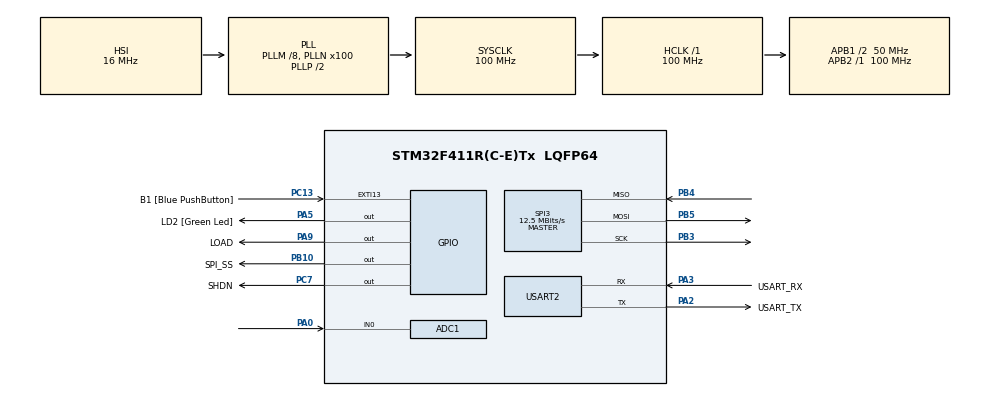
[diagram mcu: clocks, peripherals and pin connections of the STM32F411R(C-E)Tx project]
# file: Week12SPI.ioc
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ADC1.Channel-1\#ChannelRegularConversion=ADC_CHANNEL_0
ADC1.DMAContinuousRequests=ENABLE
ADC1.ExternalTrigConv=ADC_EXTERNALTRIGCONV_T3_TRGO
ADC1.NbrOfConversionFlag=1
ADC1.Rank-1\#ChannelRegularConversion=1
ADC1.SamplingTime-1\#ChannelRegularConversion=ADC_SAMPLETIME_3CYCLES
ADC1.ScanConvMode=ENABLE
ADC1.master=1
Dma.ADC1.0.Direction=DMA_PERIPH_TO_MEMORY
Dma.ADC1.0.FIFOMode=DMA_FIFOMODE_DISABLE
Dma.ADC1.0.Instance=DMA2_Stream0
Dma.ADC1.0.MemDataAlignment=DMA_MDATAALIGN_HALFWORD
Dma.ADC1.0.MemInc=DMA_MINC_ENABLE
Dma.ADC1.0.Mode=DMA_CIRCULAR
Dma.ADC1.0.PeriphDataAlignment=DMA_PDATAALIGN_HALFWORD
Dma.ADC1.0.PeriphInc=DMA_PINC_DISABLE
Dma.ADC1.0.Priority=DMA_PRIORITY_LOW
Dma.Request0=ADC1
Mcu.Family=STM32F4
Mcu.Name=STM32F411R(C-E)Tx
Mcu.Package=LQFP64
NVIC.ADC_IRQn=true\:0\:0\:false\:false\:true\:true\:true
NVIC.DMA2_Stream0_IRQn=true\:0\:0\:false\:false\:true\:false\:true
NVIC.PriorityGroup=NVIC_PRIORITYGROUP_0
NVIC.SPI3_IRQn=true\:0\:0\:false\:false\:true\:true\:true
NVIC.TIM1_TRG_COM_TIM11_IRQn=true\:0\:0\:false\:false\:true\:true\:true
NVIC.USART2_IRQn=true\:0\:0\:false\:false\:true\:true\:true
PA0-WKUP.Signal=ADCx_IN0
PA13.GPIO_Label=TMS
PA13.Mode=Serial_Wire
PA13.Signal=SYS_JTMS-SWDIO
PA14.GPIO_Label=TCK
PA14.Mode=Serial_Wire
PA14.Signal=SYS_JTCK-SWCLK
PA2.GPIO_Label=USART_TX
PA2.Mode=Asynchronous
PA2.Signal=USART2_TX
PA3.GPIO_Label=USART_RX
PA3.Mode=Asynchronous
PA3.Signal=USART2_RX
PA5.GPIO_Label=LD2 [Green Led]
PA5.Signal=GPIO_Output
PA9.GPIO_Label=LOAD
PA9.PinState=GPIO_PIN_SET
PA9.Signal=GPIO_Output
PB10.GPIO_Label=SPI_SS
PB10.PinState=GPIO_PIN_SET
PB10.Signal=GPIO_Output
PB3.Mode=Full_Duplex_Master
PB3.Signal=SPI3_SCK
PB4.Mode=Full_Duplex_Master
PB4.Signal=SPI3_MISO
PB5.Mode=Full_Duplex_Master
PB5.Signal=SPI3_MOSI
PC13-ANTI_TAMP.GPIO_Label=B1 [Blue PushButton]
PC13-ANTI_TAMP.GPIO_ModeDefaultEXTI=GPIO_MODE_IT_FALLING
PC13-ANTI_TAMP.Signal=GPXTI13
PC14-OSC32_IN.Mode=LSE-External-Oscillator
PC14-OSC32_IN.Signal=RCC_OSC32_IN
PC15-OSC32_OUT.Mode=LSE-External-Oscillator
PC15-OSC32_OUT.Signal=RCC_OSC32_OUT
PC7.GPIO_Label=SHDN
PC7.PinState=GPIO_PIN_SET
PC7.Signal=GPIO_Output
PH0\ -\ OSC_IN.Mode=HSE-External-Clock-Source
PH0\ -\ OSC_IN.Signal=RCC_OSC_IN
PH1\ -\ OSC_OUT.Mode=HSE-External-Clock-Source
PH1\ -\ OSC_OUT.Signal=RCC_OSC_OUT
ProjectManager.HeapSize=0x200
ProjectManager.StackSize=0x400
ProjectManager.TargetToolchain=STM32CubeIDE
RCC.48MHZClocksFreq_Value=50000000
RCC.AHBFreq_Value=100000000
RCC.APB1CLKDivider=RCC_HCLK_DIV2
RCC.APB1Freq_Value=50000000
RCC.APB1TimFreq_Value=100000000
RCC.APB2Freq_Value=100000000
RCC.APB2TimFreq_Value=100000000
RCC.CortexFreq_Value=100000000
RCC.FLatency-AdvancedSettings=FLASH_LATENCY_3
RCC.HCLKFreq_Value=100000000
RCC.HSE_VALUE=8000000
RCC.HSI_VALUE=16000000
RCC.PLLM=8
RCC.PLLN=100
RCC.SYSCLKFreq_VALUE=100000000
RCC.SYSCLKSource=RCC_SYSCLKSOURCE_PLLCLK
RCC.VCOOutputFreq_Value=200000000
SH.ADCx_IN0.0=ADC1_IN0,IN0
SPI3.BaudRatePrescaler=SPI_BAUDRATEPRESCALER_4
SPI3.CalculateBaudRate=12.5 MBits/s
SPI3.DataSize=SPI_DATASIZE_16BIT
SPI3.Direction=SPI_DIRECTION_2LINES
SPI3.Mode=SPI_MODE_MASTER
SPI3.VirtualType=VM_MASTER
TIM11.Prescaler=99
TIM3.Period=100
TIM3.Prescaler=99
TIM3.TIM_MasterOutputTrigger=TIM_TRGO_UPDATE
USART2.VirtualMode=VM_ASYNC
VP_TIM11_VS_ClockSourceINT.Mode=Enable_Timer
VP_TIM3_VS_ClockSourceINT.Mode=Internal
board=NUCLEO-F411RE

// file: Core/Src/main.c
/* USER CODE BEGIN Header */
/**
 ******************************************************************************
 * @file           : main.c
 * @brief          : Main program body
 ******************************************************************************
 * @attention
 *
 * <h2><center>&copy; Copyright (c) 2021 STMicroelectronics.
 * All rights reserved.</center></h2>
 *
 * This software component is licensed by ST under BSD 3-Clause license,
 * the "License"; You may not use this file except in compliance with the
 * License. You may obtain a copy of the License at:
 *                        opensource.org/licenses/BSD-3-Clause
 *
 ******************************************************************************
 */
/* USER CODE END Header */
#include "main.h"

/* USER CODE BEGIN Includes */
#include "math.h"
#include <stdio.h> //sprintf
#include <string.h> //strlen
/* USER CODE END Includes */

ADC_HandleTypeDef hadc1;
DMA_HandleTypeDef hdma_adc1;

SPI_HandleTypeDef hspi3;

TIM_HandleTypeDef htim3;
TIM_HandleTypeDef htim11;

UART_HandleTypeDef huart2;

/* USER CODE BEGIN PV */
uint16_t ADCin = 0; // Feedback
uint64_t _micro = 0;
uint16_t dataOut = 0; // 12bit DAC
uint8_t DACConfig = 0b0011; // Upper 4bit DAC

uint8_t Mode = 0; //0 = SawTooth, 1 = SineWave, 2 = SquareWave

char TxDataBuffer[32] = { 0 };
char RxDataBuffer[32] = { 0 };

enum STATE_MACHINE
{
	State_Start = 0,
	State_Start_WaitInput = 5,
	State_SawTooth = 10,
	State_SawTooth_WaitInput = 20,
	State_SineWave = 30,
	State_SineWave_WaitInput = 40,
	State_SquareWave = 50,
	State_SquareWave_WaitInput = 60
};
uint8_t State = 0;

float Time_SawTooth = 0.0;
float Time_SquareWave = 0.0;

//Generate Saw tooth
char SawTooth_frequency_output[32] = {0};
char SawTooth_Vhigh_output[32] = {0};
char SawTooth_Vlow_output[32] = {0};
uint16_t Slope = 1;
float Frequency_SawTooth = 1.0;
float Vhigh_SawTooth = 3.3;
float Vlow_SawTooth = 0.0;
//Generate Sine wave
char SineWave_frequency_output[32] = {0};
char SineWave_Vhigh_output[32] = {0};
char SineWave_Vlow_output[32] = {0};
float Frequency_SineWave = 1.0;
float Vhigh_SineWave = 3.3;
float Vlow_SineWave = 0.0;
float Phase_Shift_SineWave = 0.0;
float Vertical_Shift_SineWave = 1.65;
float Degree = 0.0;
//Generate Square wave
char SquareWave_frequency_output[40] = {0};
char SquareWave_Vhigh_output[32] = {0};
char SquareWave_Vlow_output[32] = {0};
char SquareWave_dutycycle_output[40] = {0};
float Frequency_SquareWave = 1.0;
float Vhigh_SquareWave = 3.3;
float Vlow_SquareWave = 0.0;
float Period_High_SquareWave = 0.0;
float DutyCycle = 50.0;

/* USER CODE END PV */

void SystemClock_Config(void);
static void MX_GPIO_Init(void);
static void MX_DMA_Init(void);
static void MX_USART2_UART_Init(void);
static void MX_ADC1_Init(void);
static void MX_SPI3_Init(void);
static void MX_TIM3_Init(void);
static void MX_TIM11_Init(void);
/* USER CODE BEGIN PFP */
void MCP4922SetOutput(uint8_t Config, uint16_t DACOutput);
uint64_t micros();
int16_t UARTRecieveIT();
/* USER CODE END PFP */

int main(void)
{

  /* MCU Configuration--------------------------------------------------------*/

  /* Reset of all peripherals, Initializes the Flash interface and the Systick. */
  HAL_Init();

  /* Configure the system clock */
  SystemClock_Config();

  /* Initialize all configured peripherals */
  MX_GPIO_Init();
  MX_DMA_Init();
  MX_USART2_UART_Init();
  MX_ADC1_Init();
  MX_SPI3_Init();
  MX_TIM3_Init();
  MX_TIM11_Init();
  /* USER CODE BEGIN 2 */
	HAL_TIM_Base_Start(&htim3);
	HAL_TIM_Base_Start_IT(&htim11);
	HAL_ADC_Start_DMA(&hadc1, (uint32_t*) &ADCin, 1);

	HAL_GPIO_WritePin(LOAD_GPIO_Port, LOAD_Pin, GPIO_PIN_RESET);

	{
		char temp[]="\r\n\r\n\r\n\r\n\r\n\r\n\r\n\r\n\r\n\r\n\r\n\r\nWelcome\r\nPlease type something to start.\r\n";
		HAL_UART_Transmit(&huart2, (uint8_t*)temp, strlen(temp),10);
	}
  /* USER CODE END 2 */

  /* Infinite loop */
  /* USER CODE BEGIN WHILE */
	while (1)
	{
		//Receivedcahr
		/*Method 2 Interrupt Mode*/
		HAL_UART_Receive_IT(&huart2,  (uint8_t*)RxDataBuffer, 32);
		/*Method 2 W/ 1 Char Received*/
		int16_t inputchar = UARTRecieveIT();
		if(inputchar!=-1)
		{
			sprintf(TxDataBuffer, "ReceivedChar:[%c]\r\n\r\n", inputchar);
			HAL_UART_Transmit(&huart2, (uint8_t*)TxDataBuffer, strlen(TxDataBuffer), 1000);
		}

		//State Machine
		switch (State)
		{
			case State_Start:
				{
					char State_Start_char[] = "----------MENU----------\r\n"
							"-->Press '0' for Saw tooth.\r\n"
							"-->Press '1' for Sine wave.\r\n"
							"-->Press '2' for Square wave.\r\n"
							"------------------------\r\n";
					HAL_UART_Transmit(&huart2, (uint8_t*)State_Start_char, strlen(State_Start_char), 100);
				}
				State = State_Start_WaitInput;
				break;
			case State_Start_WaitInput:
				switch (inputchar)
				{
					case 0: //No input. Wait for input
						break;
					case -1: //No input. Wait for input
						break;
					case '0':
						{
							char State_Start_WaitInput_SawTooth[] = " \r\nGo to Saw tooth control.\r\nPlease wait....\r\n \r\n";
							HAL_UART_Transmit(&huart2, (uint8_t*)State_Start_WaitInput_SawTooth, strlen(State_Start_WaitInput_SawTooth), 100);
						}
						State = State_SawTooth;
						break;
					case '1':
						{
							char State_Start_WaitInput_SineWave[] = " \r\nGo to Sine wave control.\r\nPlease wait....\r\n \r\n";
							HAL_UART_Transmit(&huart2, (uint8_t*)State_Start_WaitInput_SineWave, strlen(State_Start_WaitInput_SineWave), 100);
						}
						State = State_SineWave;
						break;
					case '2':
						{
							char State_Start_WaitInput_SquareWave[] = " \r\nGo to Square wave control.\r\nPlease wait....\r\n \r\n";
							HAL_UART_Transmit(&huart2, (uint8_t*)State_Start_WaitInput_SquareWave, strlen(State_Start_WaitInput_SquareWave), 100);
						}
						State = State_SquareWave;
						break;
					default:
						{
							char ERROR[] = " \r\n!!!ERROR!!!\r\nPlease retype.\r\n \r\n";
							HAL_UART_Transmit(&huart2, (uint8_t*)ERROR, strlen(ERROR), 100);
						}
						State = State_Start;
						break;
				}
				break;
			case State_SawTooth:
				Mode = 0;
				{
					char State_SawTooth_char[] = "------------------------\r\nSaw tooth  control\r\n"
							"-->Press 'd' for increase frequency (+0.1 Hz).\r\n"
							"-->Press 'a' decrease frequency (-0.1 Hz).\r\n"
							"-->Press 'w' increase V high (+0.1 V).\r\n"
							"-->Press 's' decrease V high (-0.1 V).\r\n"
							"-->Press 'e' increase V low (+0.1 V).\r\n"
							"-->Press 'q' decrease V low (-0.1 V).\r\n"
							"-->Press 'f' for change slope.\r\n"
							"-->Press 'x' for back to Start.\r\n"
							"------------------------\r\n";
					HAL_UART_Transmit(&huart2, (uint8_t*)State_SawTooth_char, strlen(State_SawTooth_char), 100);
				}
				{
					sprintf(SawTooth_frequency_output, "Frequency of SawTooth: [%.1f]\r\n", Frequency_SawTooth);
					HAL_UART_Transmit(&huart2, (uint8_t*)SawTooth_frequency_output, strlen(SawTooth_frequency_output), 100);
				}
				{
					sprintf(SawTooth_Vhigh_output, "V high of SawTooth: [%.1f]\r\n", Vhigh_SawTooth);
					HAL_UART_Transmit(&huart2, (uint8_t*)SawTooth_Vhigh_output, strlen(SawTooth_Vhigh_output), 100);
				}
				{
					sprintf(SawTooth_Vlow_output, "V low of SawTooth: [%.1f]\r\n", Vlow_SawTooth);
					HAL_UART_Transmit(&huart2, (uint8_t*)SawTooth_Vlow_output, strlen(SawTooth_Vlow_output), 100);
				}
				State = State_SawTooth_WaitInput;
				break;
			case State_SawTooth_WaitInput:
				switch (inputchar)
				{
					case 0: //No input. Wait for input
						break;
					case -1: //No input. Wait for input
						break;
					case 'f':
						Slope = -1*Slope;
						State = State_SawTooth;
						break;
					case 'd':
						if(Frequency_SawTooth+0.05 >= 10.000000)
						{
							Frequency_SawTooth = 10.0;
						}
						else
						{
							Frequency_SawTooth += 0.1;
						}
						State = State_SawTooth;
						break;
					case 'a':
						if(Frequency_SawTooth < 0.1)
						{
							Frequency_SawTooth = 0.0;
						}
						else
						{
							Frequency_SawTooth -= 0.1;
						}
						State = State_SawTooth;
						break;
					case 'w':
						if(Vhigh_SawTooth+0.05 >= 3.3)
						{
							Vhigh_SawTooth = 3.3;
						}
						else
						{
							Vhigh_SawTooth += 0.1;
						}
						State = State_SawTooth;
						break;
					case 's':
						if(Vhigh_SawTooth < 0.1)
						{
							Vhigh_SawTooth = 0.0;
						}
						else
						{
							if(Vhigh_SawTooth <= Vlow_SawTooth)
							{
								Vhigh_SawTooth = Vlow_SawTooth;
							}
							else
							{
								Vhigh_SawTooth -= 0.1;
							}
						}
						State = State_SawTooth;
						break;
					case 'e':
						if(Vlow_SawTooth+0.05 >= Vhigh_SawTooth)
						{
							Vlow_SawTooth = Vhigh_SawTooth;
						}
						else
						{
							Vlow_SawTooth += 0.1;
						}
						State = State_SawTooth;
						break;
					case 'q':
						if(Vlow_SawTooth < 0.1)
						{
							Vlow_SawTooth = 0.0;
						}
						else
						{
							Vlow_SawTooth -= 0.1;
						}
						State = State_SawTooth;
						break;
					case 'x':
						{
							char GoBack[] = " \r\nGo to Menu.\r\nPlease wait....\r\n \r\n";
							HAL_UART_Transmit(&huart2, (uint8_t*)GoBack, strlen(GoBack), 100);
						}
						State = State_Start;
						break;
					default:
						{
							char ERROR[] = " \r\n!!!ERROR!!!\r\nPlease retype.\r\n \r\n";
							HAL_UART_Transmit(&huart2, (uint8_t*)ERROR, strlen(ERROR), 100);
						}
						State = State_SawTooth;
						break;
				}
				break;
			case State_SineWave:
				Mode = 1;
				{
					char State_SineWave_char[] = "------------------------\r\n"
							"Sine wave control\r\n"
							"-->Press 'd' for increase frequency (+0.1 Hz).\r\n"
							"-->Press 'a' decrease frequency (-0.1 Hz).\r\n"
							"-->Press 'w' increase Vhigh (+0.1 V).\r\n"
							"-->Press 's' decrease Vlow (-0.1 V).\r\n"
							"-->Press 'x' for back to Start.\r\n"
							"------------------------\r\n";
					HAL_UART_Transmit(&huart2, (uint8_t*)State_SineWave_char, strlen(State_SineWave_char), 100);
				}
				{
					sprintf(SineWave_frequency_output, "Frequency of SineWave: [%.1f]\r\n", Frequency_SineWave);
					HAL_UART_Transmit(&huart2, (uint8_t*)SineWave_frequency_output, strlen(SineWave_frequency_output), 100);
				}
				{
					sprintf(SineWave_Vhigh_output, "V high of SineWave: [%.1f]\r\n", Vhigh_SineWave);
					HAL_UART_Transmit(&huart2, (uint8_t*)SineWave_Vhigh_output, strlen(SineWave_Vhigh_output), 100);
				}
				{
					sprintf(SineWave_Vlow_output, "V low of SineWave: [%.1f]\r\n", Vlow_SineWave);
					HAL_UART_Transmit(&huart2, (uint8_t*)SineWave_Vlow_output, strlen(SineWave_Vlow_output), 100);
				}
				State = State_SineWave_WaitInput;
				break;
			case State_SineWave_WaitInput:
				switch (inputchar)
				{
					case 0: //No input. Wait for input
						break;
					case -1: //No input. Wait for input
						break;
					case 'd':
						if(Frequency_SineWave+0.05 >= 10.000000)
						{
							Frequency_SineWave = 10.0;
						}
						else
						{
							Frequency_SineWave += 0.1;
						}
						State = State_SineWave;
						break;
					case 'a':
						if(Frequency_SineWave < 0.1)
						{
							Frequency_SineWave = 0.0;
						}
						else
						{
							Frequency_SineWave -= 0.1;
						}
						State = State_SineWave;
						break;
					case 'w':
						if(Vhigh_SineWave+0.05 >= 3.3)
						{
							Vhigh_SineWave = 3.3;
						}
						else
						{
							Vhigh_SineWave += 0.1;
						}
						State = State_SineWave;
						break;
					case 's':
						if(Vhigh_SineWave < 0.1)
						{
							Vhigh_SineWave = 0.0;
						}
						else
						{
							if(Vhigh_SineWave <= Vlow_SineWave)
							{
								Vhigh_SineWave = Vlow_SineWave;
							}
							else
							{
								Vhigh_SineWave -= 0.1;
							}
						}
						State = State_SineWave;
						break;
					case 'e':
						if(Vlow_SineWave+0.05 >= Vhigh_SineWave)
						{
							Vlow_SineWave = Vhigh_SineWave;
						}
						else
						{
							Vlow_SineWave += 0.1;
						}
						State = State_SineWave;
						break;
					case 'q':
						if(Vlow_SineWave < 0.1)
						{
							Vlow_SineWave = 0.0;
						}
						else
						{
							Vlow_SineWave -= 0.1;
						}
						State = State_SineWave;
						break;
					case 'x':
						{
							char GoBack[] = " \r\nGo to Menu.\r\nPlease wait....\r\n \r\n";
							HAL_UART_Transmit(&huart2, (uint8_t*)GoBack, strlen(GoBack), 100);
						}
						State = State_Start;
						break;
					default:
						{
							char ERROR[] = " \r\n!!!ERROR!!!\r\nPlease retype.\r\n \r\n";
							HAL_UART_Transmit(&huart2, (uint8_t*)ERROR, strlen(ERROR), 100);
						}
						State = State_SineWave;
						break;
				}
				break;
			case State_SquareWave:
				Mode = 2;
				{
					char State_SquareWave_char[] = "------------------------\r\n"
							"Square wave control\r\n"
							"-->Press 'd' for increase frequency (+0.1 Hz).\r\n"
							"-->Press 'a' for decrease frequency (-0.1 Hz).\r\n"
							"-->Press 'w' increase V high (+0.1 V).\r\n"
							"-->Press 's' decrease V high (-0.1 V).\r\n"
							"-->Press 'e' increase V low (+0.1 V).\r\n"
							"-->Press 'q' decrease V low (-0.1 V).\r\n"
							"-->Press 'v' increase Duty cycle (+0.1%).\r\n"
							"-->Press 'c' decrease Duty cycle (-0.1%).\r\n"
							"-->Press 'x' for back to Start.\r\n"
							"------------------------\r\n";
					HAL_UART_Transmit(&huart2, (uint8_t*)State_SquareWave_char, strlen(State_SquareWave_char), 100);
				}
				{
					sprintf(SquareWave_frequency_output, "Frequency of SquareWave: [%.1f]\r\n", Frequency_SquareWave);
					HAL_UART_Transmit(&huart2, (uint8_t*)SquareWave_frequency_output, strlen(SquareWave_frequency_output), 100);
				}
				{
					sprintf(SquareWave_Vhigh_output, "V high of SquareWave: [%.1f]\r\n", Vhigh_SquareWave);
					HAL_UART_Transmit(&huart2, (uint8_t*)SquareWave_Vhigh_output, strlen(SquareWave_Vhigh_output), 100);
				}
				{
					sprintf(SquareWave_Vlow_output, "V low of SquareWave: [%.1f]\r\n", Vlow_SquareWave);
					HAL_UART_Transmit(&huart2, (uint8_t*)SquareWave_Vlow_output, strlen(SquareWave_Vlow_output), 100);
				}
				{
					sprintf(SquareWave_dutycycle_output, "Duty cycle of SquareWave: [%.1f]\r\n", DutyCycle);
					HAL_UART_Transmit(&huart2, (uint8_t*)SquareWave_dutycycle_output, strlen(SquareWave_dutycycle_output), 100);
				}
				State = State_SquareWave_WaitInput;
				break;
			case State_SquareWave_WaitInput:
				switch (inputchar)
				{
					case 0: //No input. Wait for input
						break;
					case -1: //No input. Wait for input
						break;
					case 'd':
						if(Frequency_SquareWave+0.05 >= 10.000000)
						{
							Frequency_SquareWave = 10.0;
						}
						else
						{
							Frequency_SquareWave += 0.1;
						}
						State = State_SquareWave;
						break;
					case 'a':
						if(Frequency_SquareWave < 0.1)
						{
							Frequency_SquareWave = 0.0;
						}
						else
						{
							Frequency_SquareWave -= 0.1;
						}
						State = State_SquareWave;
						break;
					case 'w':
						if(Vhigh_SquareWave+0.05 >= 3.3)
						{
							Vhigh_SquareWave = 3.3;
						}
						else
						{
							Vhigh_SquareWave += 0.1;
						}
						State = State_SquareWave;
						break;
					case 's':
						if(Vhigh_SquareWave < 0.1)
						{
							Vhigh_SquareWave = 0.0;
						}
						else
						{
							if(Vhigh_SquareWave <= Vlow_SquareWave)
							{
								Vhigh_SquareWave = Vlow_SquareWave;
							}
							else
							{
								Vhigh_SquareWave -= 0.1;
							}
						}
						State = State_SquareWave;
						break;
					case 'e':
						if(Vlow_SquareWave+0.05 >= Vhigh_SquareWave)
						{
							Vlow_SquareWave = Vhigh_SquareWave;
						}
						else
						{
							Vlow_SquareWave += 0.1;
						}
						State = State_SquareWave;
						break;
					case 'q':
						if(Vlow_SquareWave < 0.1)
						{
							Vlow_SquareWave = 0.0;
						}
						else
						{
							Vlow_SquareWave -= 0.1;
						}
						State = State_SquareWave;
						break;
					case 'v':
						if(DutyCycle+5.0 >= 100.0)
						{
							DutyCycle = 100.0;
						}
						else
						{
							DutyCycle += 10.0;
						}
						State = State_SquareWave;
						break;
					case 'c':
						if(DutyCycle < 10.0)
						{
							DutyCycle = 0.0;
						}
						else
						{
							DutyCycle -= 10.0;
						}
						State = State_SquareWave;
						break;
					case 'x':
						{
							char GoBack[] = " \r\nGo to Menu.\r\nPlease wait....\r\n \r\n";
							HAL_UART_Transmit(&huart2, (uint8_t*)GoBack, strlen(GoBack), 100);
						}
						State = State_Start;
						break;
					default:
						{
							char ERROR[] = " \r\n!!!ERROR!!!\r\nPlease retype.\r\n \r\n";
							HAL_UART_Transmit(&huart2, (uint8_t*)ERROR, strlen(ERROR), 100);
						}
						State = State_SquareWave;
						break;
				}
				break;
			default:
				{
					char ERROR[] = " \r\n!!!ERROR!!!\r\nPlease retype.\r\n \r\n";
					HAL_UART_Transmit(&huart2, (uint8_t*)ERROR, strlen(ERROR), 100);
				}
				State = State_Start;
				break;
		}

		//SPL
		static uint64_t timestamp = 0;
		if (micros() - timestamp > 10000)
		{
			timestamp = micros();
			//SawTooth
			if(Mode == 0)
			{
				Time_SawTooth += 0.01;
				if(Slope == 1)
				{
					if(Time_SawTooth <= (1/Frequency_SawTooth))
					{
						dataOut = (((Vhigh_SawTooth*(4096.0/3.3))-(Vlow_SawTooth*(4096.0/3.3)))/(1/Frequency_SawTooth))*Time_SawTooth + (Vlow_SawTooth*(4096.0/3.3));
					}
					else
					{
						Time_SawTooth = 0.0;
					}
				}
				else
				{
					if(Time_SawTooth <= (1/Frequency_SawTooth))
					{
						dataOut = (((Vlow_SawTooth*(4096.0/3.3))-(Vhigh_SawTooth*(4096.0/3.3)))/(1/Frequency_SawTooth))*Time_SawTooth + (Vhigh_SawTooth*(4096.0/3.3));
					}
					else
					{
						Time_SawTooth = 0.0;
					}
				}
			}
			//SineWave
			else if(Mode == 1)
			{
				Degree += 0.01;
				dataOut = (((Vhigh_SineWave*(4096.0/3.3))-(Vlow_SineWave*(4096.0/3.3)))/2)*sin(2*M_PI*Frequency_SineWave*Degree)+(((Vhigh_SineWave*(4096.0/3.3))+(Vlow_SineWave*(4096.0/3.3)))/2);
			}
			//SquareWave
			else if(Mode == 2)
			{
				Time_SquareWave += 0.01;
				Period_High_SquareWave = (1/Frequency_SquareWave)*(DutyCycle/100.0);
				if(Time_SquareWave <= Period_High_SquareWave)
				{
					dataOut = Vhigh_SquareWave*(4096.0/3.3);
				}
				else if(Time_SquareWave > Period_High_SquareWave && Time_SquareWave <= (1/Frequency_SquareWave))
				{
					dataOut = Vlow_SquareWave*(4096.0/3.3);
				}
				else
				{
					Time_SquareWave = 0.0;
				}
			}
			if (hspi3.State == HAL_SPI_STATE_READY && HAL_GPIO_ReadPin(SPI_SS_GPIO_Port, SPI_SS_Pin) == GPIO_PIN_SET) //if master is not communicate another slave (it has only 1 slave) and ship select is high. it will sent data.
			{
				MCP4922SetOutput(DACConfig, dataOut);
			}
		}

	}
    /* USER CODE END WHILE */

	}

void SystemClock_Config(void)
{
  RCC_OscInitTypeDef RCC_OscInitStruct = {0};
  RCC_ClkInitTypeDef RCC_ClkInitStruct = {0};

  /** Configure the main internal regulator output voltage
  */
  __HAL_RCC_PWR_CLK_ENABLE();
  __HAL_PWR_VOLTAGESCALING_CONFIG(PWR_REGULATOR_VOLTAGE_SCALE1);
  /** Initializes the RCC Oscillators according to the specified parameters
  * in the RCC_OscInitTypeDef structure.
  */
  RCC_OscInitStruct.OscillatorType = RCC_OSCILLATORTYPE_HSI;
  RCC_OscInitStruct.HSIState = RCC_HSI_ON;
  RCC_OscInitStruct.HSICalibrationValue = RCC_HSICALIBRATION_DEFAULT;
  RCC_OscInitStruct.PLL.PLLState = RCC_PLL_ON;
  RCC_OscInitStruct.PLL.PLLSource = RCC_PLLSOURCE_HSI;
  RCC_OscInitStruct.PLL.PLLM = 8;
  RCC_OscInitStruct.PLL.PLLN = 100;
  RCC_OscInitStruct.PLL.PLLP = RCC_PLLP_DIV2;
  RCC_OscInitStruct.PLL.PLLQ = 4;
  if (HAL_RCC_OscConfig(&RCC_OscInitStruct) != HAL_OK)
  {
    Error_Handler();
  }
  /** Initializes the CPU, AHB and APB buses clocks
  */
  RCC_ClkInitStruct.ClockType = RCC_CLOCKTYPE_HCLK|RCC_CLOCKTYPE_SYSCLK
                              |RCC_CLOCKTYPE_PCLK1|RCC_CLOCKTYPE_PCLK2;
  RCC_ClkInitStruct.SYSCLKSource = RCC_SYSCLKSOURCE_PLLCLK;
  RCC_ClkInitStruct.AHBCLKDivider = RCC_SYSCLK_DIV1;
  RCC_ClkInitStruct.APB1CLKDivider = RCC_HCLK_DIV2;
  RCC_ClkInitStruct.APB2CLKDivider = RCC_HCLK_DIV1;

  if (HAL_RCC_ClockConfig(&RCC_ClkInitStruct, FLASH_LATENCY_3) != HAL_OK)
  {
    Error_Handler();
  }
}

static void MX_ADC1_Init(void)
{

  ADC_ChannelConfTypeDef sConfig = {0};

  /** Configure the global features of the ADC (Clock, Resolution, Data Alignment and number of conversion)
  */
  hadc1.Instance = ADC1;
  hadc1.Init.ClockPrescaler = ADC_CLOCK_SYNC_PCLK_DIV4;
  hadc1.Init.Resolution = ADC_RESOLUTION_12B;
  hadc1.Init.ScanConvMode = ENABLE;
  hadc1.Init.ContinuousConvMode = DISABLE;
  hadc1.Init.DiscontinuousConvMode = DISABLE;
  hadc1.Init.ExternalTrigConvEdge = ADC_EXTERNALTRIGCONVEDGE_RISING;
  hadc1.Init.ExternalTrigConv = ADC_EXTERNALTRIGCONV_T3_TRGO;
  hadc1.Init.DataAlign = ADC_DATAALIGN_RIGHT;
  hadc1.Init.NbrOfConversion = 1;
  hadc1.Init.DMAContinuousRequests = ENABLE;
  hadc1.Init.EOCSelection = ADC_EOC_SINGLE_CONV;
  if (HAL_ADC_Init(&hadc1) != HAL_OK)
  {
    Error_Handler();
  }
  /** Configure for the selected ADC regular channel its corresponding rank in the sequencer and its sample time.
  */
  sConfig.Channel = ADC_CHANNEL_0;
  sConfig.Rank = 1;
  sConfig.SamplingTime = ADC_SAMPLETIME_3CYCLES;
  if (HAL_ADC_ConfigChannel(&hadc1, &sConfig) != HAL_OK)
  {
    Error_Handler();
  }

}

static void MX_SPI3_Init(void)
{

  /* SPI3 parameter configuration*/
  hspi3.Instance = SPI3;
  hspi3.Init.Mode = SPI_MODE_MASTER;
  hspi3.Init.Direction = SPI_DIRECTION_2LINES;
  hspi3.Init.DataSize = SPI_DATASIZE_16BIT;
  hspi3.Init.CLKPolarity = SPI_POLARITY_LOW;
  hspi3.Init.CLKPhase = SPI_PHASE_1EDGE;
  hspi3.Init.NSS = SPI_NSS_SOFT;
  hspi3.Init.BaudRatePrescaler = SPI_BAUDRATEPRESCALER_4;
  hspi3.Init.FirstBit = SPI_FIRSTBIT_MSB;
  hspi3.Init.TIMode = SPI_TIMODE_DISABLE;
  hspi3.Init.CRCCalculation = SPI_CRCCALCULATION_DISABLE;
  hspi3.Init.CRCPolynomial = 10;
  if (HAL_SPI_Init(&hspi3) != HAL_OK)
  {
    Error_Handler();
  }

}

static void MX_TIM3_Init(void)
{

  TIM_ClockConfigTypeDef sClockSourceConfig = {0};
  TIM_MasterConfigTypeDef sMasterConfig = {0};

  htim3.Instance = TIM3;
  htim3.Init.Prescaler = 99;
  htim3.Init.CounterMode = TIM_COUNTERMODE_UP;
  htim3.Init.Period = 100;
  htim3.Init.ClockDivision = TIM_CLOCKDIVISION_DIV1;
  htim3.Init.AutoReloadPreload = TIM_AUTORELOAD_PRELOAD_DISABLE;
  if (HAL_TIM_Base_Init(&htim3) != HAL_OK)
  {
    Error_Handler();
  }
  sClockSourceConfig.ClockSource = TIM_CLOCKSOURCE_INTERNAL;
  if (HAL_TIM_ConfigClockSource(&htim3, &sClockSourceConfig) != HAL_OK)
  {
    Error_Handler();
  }
  sMasterConfig.MasterOutputTrigger = TIM_TRGO_UPDATE;
  sMasterConfig.MasterSlaveMode = TIM_MASTERSLAVEMODE_DISABLE;
  if (HAL_TIMEx_MasterConfigSynchronization(&htim3, &sMasterConfig) != HAL_OK)
  {
    Error_Handler();
  }

}

static void MX_TIM11_Init(void)
{

  htim11.Instance = TIM11;
  htim11.Init.Prescaler = 99;
  htim11.Init.CounterMode = TIM_COUNTERMODE_UP;
  htim11.Init.Period = 65535;
  htim11.Init.ClockDivision = TIM_CLOCKDIVISION_DIV1;
  htim11.Init.AutoReloadPreload = TIM_AUTORELOAD_PRELOAD_DISABLE;
  if (HAL_TIM_Base_Init(&htim11) != HAL_OK)
  {
    Error_Handler();
  }

}

static void MX_USART2_UART_Init(void)
{

  huart2.Instance = USART2;
  huart2.Init.BaudRate = 115200;
  huart2.Init.WordLength = UART_WORDLENGTH_8B;
  huart2.Init.StopBits = UART_STOPBITS_1;
  huart2.Init.Parity = UART_PARITY_NONE;
  huart2.Init.Mode = UART_MODE_TX_RX;
  huart2.Init.HwFlowCtl = UART_HWCONTROL_NONE;
  huart2.Init.OverSampling = UART_OVERSAMPLING_16;
  if (HAL_UART_Init(&huart2) != HAL_OK)
  {
    Error_Handler();
  }

}

static void MX_DMA_Init(void)
{

  /* DMA controller clock enable */
  __HAL_RCC_DMA2_CLK_ENABLE();

  /* DMA interrupt init */
  /* DMA2_Stream0_IRQn interrupt configuration */
  HAL_NVIC_SetPriority(DMA2_Stream0_IRQn, 0, 0);
  HAL_NVIC_EnableIRQ(DMA2_Stream0_IRQn);

}

static void MX_GPIO_Init(void)
{
  GPIO_InitTypeDef GPIO_InitStruct = {0};

  /* GPIO Ports Clock Enable */
  __HAL_RCC_GPIOC_CLK_ENABLE();
  __HAL_RCC_GPIOH_CLK_ENABLE();
  __HAL_RCC_GPIOA_CLK_ENABLE();
  __HAL_RCC_GPIOB_CLK_ENABLE();

  /*Configure GPIO pin Output Level */
  HAL_GPIO_WritePin(LD2_GPIO_Port, LD2_Pin, GPIO_PIN_RESET);

  /*Configure GPIO pin Output Level */
  HAL_GPIO_WritePin(SPI_SS_GPIO_Port, SPI_SS_Pin, GPIO_PIN_SET);

  /*Configure GPIO pin Output Level */
  HAL_GPIO_WritePin(SHDN_GPIO_Port, SHDN_Pin, GPIO_PIN_SET);

  /*Configure GPIO pin Output Level */
  HAL_GPIO_WritePin(LOAD_GPIO_Port, LOAD_Pin, GPIO_PIN_SET);

  /*Configure GPIO pin : B1_Pin */
  GPIO_InitStruct.Pin = B1_Pin;
  GPIO_InitStruct.Mode = GPIO_MODE_IT_FALLING;
  GPIO_InitStruct.Pull = GPIO_NOPULL;
  HAL_GPIO_Init(B1_GPIO_Port, &GPIO_InitStruct);

  /*Configure GPIO pins : LD2_Pin LOAD_Pin */
  GPIO_InitStruct.Pin = LD2_Pin|LOAD_Pin;
  GPIO_InitStruct.Mode = GPIO_MODE_OUTPUT_PP;
  GPIO_InitStruct.Pull = GPIO_NOPULL;
  GPIO_InitStruct.Speed = GPIO_SPEED_FREQ_LOW;
  HAL_GPIO_Init(GPIOA, &GPIO_InitStruct);

  /*Configure GPIO pin : SPI_SS_Pin */
  GPIO_InitStruct.Pin = SPI_SS_Pin;
  GPIO_InitStruct.Mode = GPIO_MODE_OUTPUT_PP;
  GPIO_InitStruct.Pull = GPIO_NOPULL;
  GPIO_InitStruct.Speed = GPIO_SPEED_FREQ_LOW;
  HAL_GPIO_Init(SPI_SS_GPIO_Port, &GPIO_InitStruct);

  /*Configure GPIO pin : SHDN_Pin */
  GPIO_InitStruct.Pin = SHDN_Pin;
  GPIO_InitStruct.Mode = GPIO_MODE_OUTPUT_PP;
  GPIO_InitStruct.Pull = GPIO_NOPULL;
  GPIO_InitStruct.Speed = GPIO_SPEED_FREQ_LOW;
  HAL_GPIO_Init(SHDN_GPIO_Port, &GPIO_InitStruct);

}

/* USER CODE BEGIN 4 */
void MCP4922SetOutput(uint8_t Config, uint16_t DACOutput) // Set Output // Config is upper 4 bit DAC, DACOutput is 12 bit DAC.
{
	//Use bitwise operation to make Config and DACOutput be one package.
	uint32_t OutputPacket = (DACOutput & 0x0fff) | ((Config & 0xf) << 12);
	HAL_GPIO_WritePin(SPI_SS_GPIO_Port, SPI_SS_Pin, GPIO_PIN_RESET); //ship select be low.
	HAL_SPI_Transmit_IT(&hspi3, &OutputPacket, 1);// sent data
}

void HAL_SPI_TxCpltCallback(SPI_HandleTypeDef *hspi)
{
	if (hspi == &hspi3)
	{
		HAL_GPIO_WritePin(SPI_SS_GPIO_Port, SPI_SS_Pin, GPIO_PIN_SET);
	}
}

void HAL_TIM_PeriodElapsedCallback(TIM_HandleTypeDef *htim)
{
	if (htim == &htim11)
	{
		_micro += 65535;
	}
}

inline uint64_t micros()
{
	return htim11.Instance->CNT + _micro;
}

int16_t UARTRecieveIT()
{
	static uint32_t dataPos =0;
	int16_t data=-1;
	if(huart2.RxXferSize - huart2.RxXferCount!=dataPos)
	{
		data=RxDataBuffer[dataPos];
		dataPos= (dataPos+1)%huart2.RxXferSize;
	}
	return data;
}

void HAL_UART_RxCpltCallback(UART_HandleTypeDef *huart)
{
	sprintf(TxDataBuffer, "Received:[%s]\r\n\r\n", RxDataBuffer);
	HAL_UART_Transmit(&huart2, (uint8_t*)TxDataBuffer, strlen(TxDataBuffer), 1000);
}
/* USER CODE END 4 */

void Error_Handler(void)
{
	__disable_irq();
	while (1)
	{
	}
}

/************************ (C) COPYRIGHT STMicroelectronics *****END OF FILE****/
